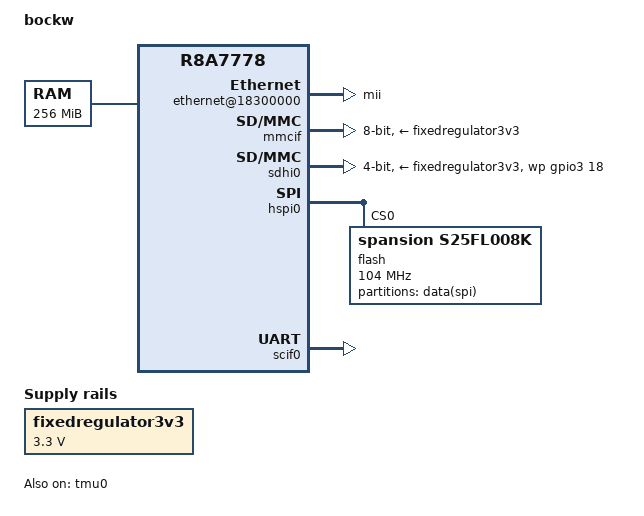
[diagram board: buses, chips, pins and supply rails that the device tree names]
/*
 * Reference Device Tree Source for the Bock-W board
 *
 * Copyright (C) 2013  Renesas Solutions Corp.
 * Copyright (C) 2013  Kuninori Morimoto <kuninori.morimoto.gx@renesas.com>
 *
 * based on r8a7779
 *
 * Copyright (C) 2013 Renesas Solutions Corp.
 * Copyright (C) 2013 Simon Horman
 *
 * This file is licensed under the terms of the GNU General Public License
 * version 2.  This program is licensed "as is" without any warranty of any
 * kind, whether express or implied.
 */

/dts-v1/;
#include "r8a7778.dtsi"
#include <dt-bindings/interrupt-controller/irq.h>
#include <dt-bindings/gpio/gpio.h>

/ {
	model = "bockw";
	compatible = "renesas,bockw-reference", "renesas,r8a7778";

	aliases {
		serial0 = &scif0;
	};

	chosen {
		bootargs = "ignore_loglevel root=/dev/nfs ip=dhcp rw";
		stdout-path = &scif0;
	};

	memory {
		device_type = "memory";
		reg = <0x60000000 0x10000000>;
	};

	fixedregulator3v3: fixedregulator@0 {
		compatible = "regulator-fixed";
		regulator-name = "fixed-3.3V";
		regulator-min-microvolt = <3300000>;
		regulator-max-microvolt = <3300000>;
		regulator-boot-on;
		regulator-always-on;
	};

	ethernet@18300000 {
		compatible = "smsc,lan9220", "smsc,lan9115";
		reg = <0x18300000 0x1000>;

		phy-mode = "mii";
		interrupt-parent = <&irqpin>;
		interrupts = <0 IRQ_TYPE_EDGE_FALLING>;
		reg-io-width = <4>;
		vddvario-supply = <&fixedregulator3v3>;
		vdd33a-supply = <&fixedregulator3v3>;
	};

};

&mmcif {
	pinctrl-0 = <&mmc_pins>;
	pinctrl-names = "default";

	vmmc-supply = <&fixedregulator3v3>;
	bus-width = <8>;
	broken-cd;
	status = "okay";
};

&irqpin {
	status = "okay";
};

&tmu0 {
	status = "okay";
};

&pfc {
	scif0_pins: serial0 {
		renesas,groups = "scif0_data_a", "scif0_ctrl";
		renesas,function = "scif0";
	};

	mmc_pins: mmc {
		renesas,groups = "mmc_data8", "mmc_ctrl";
		renesas,function = "mmc";
	};

	sdhi0_pins: sd0 {
		renesas,groups = "sdhi0_data4", "sdhi0_ctrl",
				  "sdhi0_cd";
		renesas,function = "sdhi0";
	};

	hspi0_pins: hspi0 {
		renesas,groups = "hspi0_a";
		renesas,function = "hspi0";
	};
};

&sdhi0 {
	pinctrl-0 = <&sdhi0_pins>;
	pinctrl-names = "default";

	vmmc-supply = <&fixedregulator3v3>;
	bus-width = <4>;
	status = "okay";
	wp-gpios = <&gpio3 18 GPIO_ACTIVE_HIGH>;
};

&hspi0 {
	pinctrl-0 = <&hspi0_pins>;
	pinctrl-names = "default";
	status = "okay";

	flash: flash@0 {
		#address-cells = <1>;
		#size-cells = <1>;
		compatible = "spansion,s25fl008k";
		reg = <0>;
		spi-max-frequency = <104000000>;
		m25p,fast-read;

		partition@0 {
			label = "data(spi)";
			reg = <0x00000000 0x00100000>;
		};
	};
};

&scif0 {
	pinctrl-0 = <&scif0_pins>;
	pinctrl-names = "default";

	status = "okay";
};
